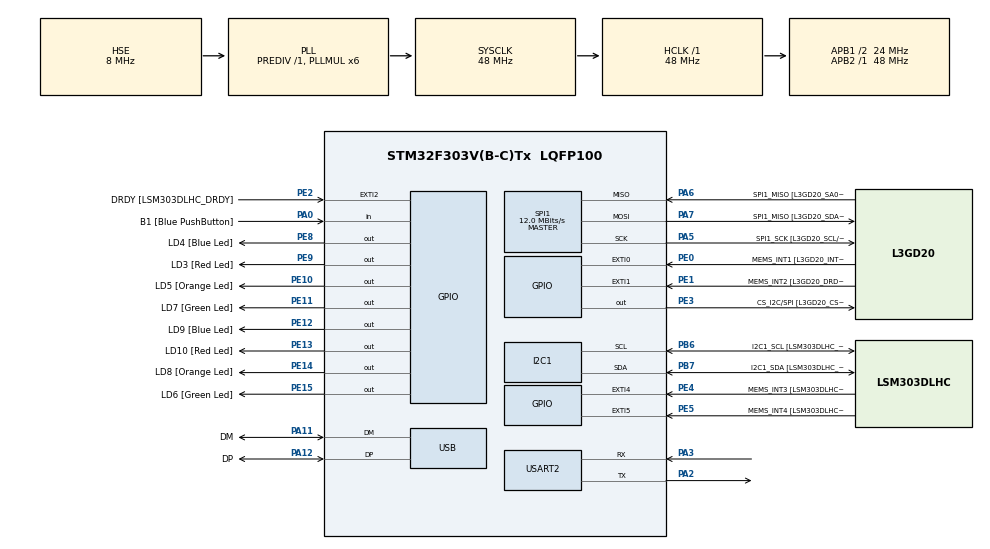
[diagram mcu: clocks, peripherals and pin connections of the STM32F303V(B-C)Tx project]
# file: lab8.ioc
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I2C1.Timing=0x00201D2B
I2C1.Timing-I2C=0x2000090E
Mcu.Family=STM32F3
Mcu.Name=STM32F303V(B-C)Tx
Mcu.Package=LQFP100
NVIC.PriorityGroup=NVIC_PRIORITYGROUP_0
NVIC.SPI1_IRQn=true\:0\:0\:false\:false\:true\:true\:true\:true
NVIC.USART2_IRQn=true\:0\:0\:false\:false\:true\:true\:true\:true
PA0.GPIO_Label=B1 [Blue PushButton]
PA0.Signal=GPIO_Input
PA11.GPIO_Label=DM
PA11.Mode=Device
PA11.Signal=USB_DM
PA12.GPIO_Label=DP
PA12.Mode=Device
PA12.Signal=USB_DP
PA13.GPIO_Label=SWDIO
PA13.Mode=Serial_Wire
PA13.Signal=SYS_JTMS-SWDIO
PA14.GPIO_Label=SWCLK
PA14.Mode=Serial_Wire
PA14.Signal=SYS_JTCK-SWCLK
PA2.Mode=Asynchronous
PA2.Signal=USART2_TX
PA3.Mode=Asynchronous
PA3.Signal=USART2_RX
PA5.GPIO_Label=SPI1_SCK [L3GD20_SCL/SPC]
PA5.Mode=Full_Duplex_Master
PA5.Signal=SPI1_SCK
PA6.GPIO_Label=SPI1_MISO [L3GD20_SA0/SDO]
PA6.Mode=Full_Duplex_Master
PA6.Signal=SPI1_MISO
PA7.GPIO_Label=SPI1_MISO [L3GD20_SDA/SDI/SDO]
PA7.Mode=Full_Duplex_Master
PA7.Signal=SPI1_MOSI
PB3.GPIO_Label=SWO
PB3.Signal=SYS_JTDO-TRACESWO
PB6.GPIO_Label=I2C1_SCL [LSM303DLHC_SCL]
PB6.GPIO_Pu=GPIO_PULLUP
PB6.Mode=I2C
PB6.Signal=I2C1_SCL
PB7.GPIO_Label=I2C1_SDA [LSM303DLHC_SDA]
PB7.GPIO_Pu=GPIO_PULLUP
PB7.Mode=I2C
PB7.Signal=I2C1_SDA
PC14-OSC32_IN.GPIO_Label=OSC32_IN
PC14-OSC32_IN.Signal=RCC_OSC32_IN
PC15-OSC32_OUT.GPIO_Label=OSC32_OUT
PC15-OSC32_OUT.Signal=RCC_OSC32_OUT
PE0.GPIO_Label=MEMS_INT1 [L3GD20_INT1]
PE0.GPIO_ModeDefaultEXTI=GPIO_MODE_EVT_RISING
PE0.Signal=GPXTI0
PE1.GPIO_Label=MEMS_INT2 [L3GD20_DRDY/INT2]
PE1.GPIO_ModeDefaultEXTI=GPIO_MODE_EVT_RISING
PE1.Signal=GPXTI1
PE10.GPIO_Label=LD5 [Orange Led]
PE10.Signal=GPIO_Output
PE11.GPIO_Label=LD7 [Green Led]
PE11.Signal=GPIO_Output
PE12.GPIO_Label=LD9 [Blue Led]
PE12.Signal=GPIO_Output
PE13.GPIO_Label=LD10 [Red Led]
PE13.Signal=GPIO_Output
PE14.GPIO_Label=LD8 [Orange Led]
PE14.Signal=GPIO_Output
PE15.GPIO_Label=LD6 [Green Led]
PE15.Signal=GPIO_Output
PE2.GPIO_Label=DRDY [LSM303DLHC_DRDY]
PE2.GPIO_ModeDefaultEXTI=GPIO_MODE_EVT_RISING
PE2.Signal=GPXTI2
PE3.GPIO_Label=CS_I2C/SPI [L3GD20_CS_I2C/SPI]
PE3.Signal=GPIO_Output
PE4.GPIO_Label=MEMS_INT3 [LSM303DLHC_INT1]
PE4.GPIO_ModeDefaultEXTI=GPIO_MODE_EVT_RISING
PE4.Signal=GPXTI4
PE5.GPIO_Label=MEMS_INT4 [LSM303DLHC_INT2]
PE5.GPIO_ModeDefaultEXTI=GPIO_MODE_EVT_RISING
PE5.Signal=GPXTI5
PE8.GPIO_Label=LD4 [Blue Led]
PE8.Signal=GPIO_Output
PE9.GPIO_Label=LD3 [Red Led]
PE9.Signal=GPIO_Output
PF0-OSC_IN.GPIO_Label=OSC_IN
PF0-OSC_IN.Mode=HSE-External-Clock-Source
PF0-OSC_IN.Signal=RCC_OSC_IN
PF1-OSC_OUT.GPIO_Label=OSC_OUT
PF1-OSC_OUT.Signal=RCC_OSC_OUT
ProjectManager.HeapSize=0x200
ProjectManager.StackSize=0x400
ProjectManager.TargetToolchain=CMake
RCC.AHBFreq_Value=48000000
RCC.APB1CLKDivider=RCC_HCLK_DIV2
RCC.APB1Freq_Value=24000000
RCC.APB1TimFreq_Value=48000000
RCC.APB2Freq_Value=48000000
RCC.APB2TimFreq_Value=48000000
RCC.CortexFreq_Value=48000000
RCC.HCLKFreq_Value=48000000
RCC.HSE_VALUE=8000000
RCC.HSI_VALUE=8000000
RCC.LSE_VALUE=32768
RCC.PLLMUL=RCC_PLL_MUL6
RCC.SYSCLKFreq_VALUE=48000000
RCC.SYSCLKSourceVirtual=RCC_SYSCLKSOURCE_PLLCLK
RCC.USBFreq_Value=48000000
SPI1.BaudRatePrescaler=SPI_BAUDRATEPRESCALER_4
SPI1.BaudRatePrescaler-Full_Duplex_Master=SPI_BAUDRATEPRESCALER_2
SPI1.CalculateBaudRate=12.0 MBits/s
SPI1.CalculateBaudRate-Full_Duplex_Master=24.0 MBits/s
SPI1.Direction=SPI_DIRECTION_2LINES
SPI1.Mode=SPI_MODE_MASTER
SPI1.Mode-Full_Duplex_Master=SPI_MODE_MASTER
SPI1.VirtualType=VM_MASTER
USART2.VirtualMode-Asynchronous=VM_ASYNC
board=STM32F3DISCOVERY

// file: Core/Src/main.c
/* USER CODE BEGIN Header */
/**
  ******************************************************************************
  * @file           : main.c
  * @brief          : Lab 8 - Task 1 (commented) + Task 2 (commented) + Task 3 (active)
  *
  *  TASK 1 (commented out):
  *    Reads WHO_AM_I register (0x0F) from I3G4250D gyroscope via SPI polling.
  *    Expected return: 0xD3 (blue board). Prints result over UART.
  *
  *  TASK 2 (commented out):
  *    Reads temperature register (0x26) via SPI interrupt mode.
  *    Transmits signed temperature value over UART every ~150ms.
  *
  *  TASK 3 (active):
  *    Reads temperature + angular velocity (X, Y, Z) via SPI polling.
  *    Converts raw values to dps using sensitivity = 8.75 mdps/LSB.
  *    Output format: "<temp>, <x_dps>, <y_dps>, <z_dps>\n"
  *    Works with Lab8Task3_plot.py Python script.
  ******************************************************************************
  */
/* USER CODE END Header */

#include "main.h"

/* USER CODE BEGIN Includes */
#include <stdio.h>
#include <string.h>
/* USER CODE END Includes */

/* USER CODE BEGIN PD */

/* ── Gyroscope Register Addresses ─────────────────────────────────────── */
#define GYRO_WHO_AM_I_ADDR   0x0F   /* Task 1: WHO_AM_I register          */
#define I3G4250D_WHO_AM_I    0xD3   /* Task 1: Expected ID - blue board   */
#define L3GD20_WHO_AM_I      0xD4   /* Task 1: Expected ID - green board  */

#define CTRL_REG1            0x20
#define CTRL_REG1_VAL        0x8F   /* PD=1, ODR=400Hz, Zen=Yen=Xen=1    */

#define CTRL_REG4            0x23
#define CTRL_REG4_VAL        0x00   /* FS = ±245 dps (default)            */

#define OUT_TEMP             0x26   /* Temperature output register        */
#define OUT_X_L              0x28   /* X-axis low byte (auto-inc from here)*/

/* ── SPI Command Bits ──────────────────────────────────────────────────── */
#define SPI_READ             0x80   /* Bit7=1 => read                     */
#define SPI_AUTO_INC         0x40   /* Bit6=1 => auto-increment address   */

/* ── Chip Select Pin ───────────────────────────────────────────────────── */
#define GYRO_CS_PIN          GPIO_PIN_3
#define GYRO_CS_PORT         GPIOE

/* USER CODE END PD */

/* USER CODE BEGIN PM */
#define GYRO_CS_LOW()   HAL_GPIO_WritePin(GYRO_CS_PORT, GYRO_CS_PIN, GPIO_PIN_RESET)
#define GYRO_CS_HIGH()  HAL_GPIO_WritePin(GYRO_CS_PORT, GYRO_CS_PIN, GPIO_PIN_SET)
/* USER CODE END PM */

I2C_HandleTypeDef  hi2c1;
SPI_HandleTypeDef  hspi1;
UART_HandleTypeDef huart2;
PCD_HandleTypeDef  hpcd_USB_FS;

/* USER CODE BEGIN PV */

/* ── Task 2: SPI state machine (commented out) ─────────────────────────── */
// typedef enum {
//     SPI_STATE_IDLE = 0,
//     SPI_STATE_TX_DONE,
//     SPI_STATE_RX_DONE
// } SPI_State_t;
// volatile SPI_State_t spiState = SPI_STATE_IDLE;
// uint8_t t2_tx_buf[1];
// uint8_t t2_rx_buf[1];
// volatile int8_t t2_temperature = 0;

/* ── Task 3: buffers ────────────────────────────────────────────────────── */
static uint8_t rx_buf[6];
static int8_t  temp_raw;
static int16_t x_raw, y_raw, z_raw;
static char    uart_buf[64];

/* USER CODE END PV */

void SystemClock_Config(void);
static void MX_GPIO_Init(void);
static void MX_I2C1_Init(void);
static void MX_SPI1_Init(void);
static void MX_USART2_UART_Init(void);
static void MX_USB_PCD_Init(void);

/* USER CODE BEGIN PFP */

// ── Task 1 prototype (commented out) ──────────────────────────────────────
// static uint8_t Gyro_ReadRegister(uint8_t reg_addr);

// ── Task 2 prototypes (commented out) ─────────────────────────────────────
// void gyro_read_temp_start(void);
// void HAL_SPI_TxCpltCallback(SPI_HandleTypeDef *hspi);
// void HAL_SPI_RxCpltCallback(SPI_HandleTypeDef *hspi);

// ── Task 3 prototypes ──────────────────────────────────────────────────────
static void    gyro_write_reg(uint8_t reg, uint8_t val);
static uint8_t gyro_read_reg(uint8_t reg);
static void    gyro_init(void);
static void    gyro_read_all(void);
static int     write_dps(char *buf, int32_t raw);

/* USER CODE END PFP */

/* USER CODE BEGIN 0 */

/* ════════════════════════════════════════════════════════════════════════
 * TASK 1 - WHO_AM_I Read via SPI Polling (COMMENTED OUT)
 * ════════════════════════════════════════════════════════════════════════
 * Usage in USER CODE BEGIN 2:
 *   uint8_t id = Gyro_ReadRegister(GYRO_WHO_AM_I_ADDR);
 *   sprintf(uart_buf, "WHO_AM_I = 0x%02X\r\n", id);
 *   HAL_UART_Transmit(&huart2, (uint8_t*)uart_buf, strlen(uart_buf), 100);
 * ════════════════════════════════════════════════════════════════════════ */
// static uint8_t Gyro_ReadRegister(uint8_t reg_addr)
// {
//     uint8_t cmd     = SPI_READ | (reg_addr & 0x3F);
//     uint8_t rx_data = 0x00;
//     GYRO_CS_LOW();
//     HAL_SPI_Transmit(&hspi1, &cmd, 1, 100);
//     HAL_SPI_Receive(&hspi1, &rx_data, 1, 100);
//     GYRO_CS_HIGH();
//     return rx_data;
// }

/* ════════════════════════════════════════════════════════════════════════
 * TASK 2 - Temperature via SPI Interrupt Mode (COMMENTED OUT)
 * ════════════════════════════════════════════════════════════════════════ */
// void gyro_read_temp_start(void)
// {
//     t2_tx_buf[0] = SPI_READ | OUT_TEMP;
//     spiState     = SPI_STATE_IDLE;
//     GYRO_CS_LOW();
//     HAL_SPI_Transmit_IT(&hspi1, t2_tx_buf, 1);
// }
//
// void HAL_SPI_TxCpltCallback(SPI_HandleTypeDef *hspi)
// {
//     if (hspi->Instance == SPI1)
//     {
//         spiState = SPI_STATE_TX_DONE;
//         HAL_SPI_Receive_IT(&hspi1, t2_rx_buf, 1);
//     }
// }
//
// void HAL_SPI_RxCpltCallback(SPI_HandleTypeDef *hspi)
// {
//     if (hspi->Instance == SPI1)
//     {
//         GYRO_CS_HIGH();
//         t2_temperature = (int8_t)t2_rx_buf[0];
//         spiState       = SPI_STATE_RX_DONE;
//     }
// }

/* ════════════════════════════════════════════════════════════════════════
 * TASK 3 - Angular Velocity + Temperature via SPI Polling (ACTIVE)
 * ════════════════════════════════════════════════════════════════════════ */

static void gyro_write_reg(uint8_t reg, uint8_t val)
{
    uint8_t tx[2] = { reg & 0x3F, val };
    GYRO_CS_LOW();
    HAL_SPI_Transmit(&hspi1, tx, 2, HAL_MAX_DELAY);
    GYRO_CS_HIGH();
}

static uint8_t gyro_read_reg(uint8_t reg)
{
    uint8_t cmd  = SPI_READ | (reg & 0x3F);
    uint8_t data = 0;
    GYRO_CS_LOW();
    HAL_SPI_Transmit(&hspi1, &cmd,  1, HAL_MAX_DELAY);
    HAL_SPI_Receive (&hspi1, &data, 1, HAL_MAX_DELAY);
    GYRO_CS_HIGH();
    return data;
}

static void gyro_init(void)
{
    gyro_write_reg(CTRL_REG1, CTRL_REG1_VAL);  /* Power on, enable axes  */
    gyro_write_reg(CTRL_REG4, CTRL_REG4_VAL);  /* ±245 dps full scale    */
}

static void gyro_read_all(void)
{
    /* Read temperature */
    temp_raw = (int8_t)gyro_read_reg(OUT_TEMP);

    /* Burst read 6 bytes: OUT_X_L through OUT_Z_H using auto-increment */
    uint8_t cmd = SPI_READ | SPI_AUTO_INC | OUT_X_L;  /* 0xE8 */
    GYRO_CS_LOW();
    HAL_SPI_Transmit(&hspi1, &cmd,   1, HAL_MAX_DELAY);
    HAL_SPI_Receive (&hspi1, rx_buf, 6, HAL_MAX_DELAY);
    GYRO_CS_HIGH();

    /* Merge low and high bytes (little-endian) */
    x_raw = (int16_t)((rx_buf[1] << 8) | rx_buf[0]);
    y_raw = (int16_t)((rx_buf[3] << 8) | rx_buf[2]);
    z_raw = (int16_t)((rx_buf[5] << 8) | rx_buf[4]);
}

/**
 * @brief Convert raw gyro value to dps string without floats.
 *        Sensitivity = 8.75 mdps/LSB
 *        raw * 875 / 100 = value in units of 0.01 dps
 *        e.g. raw=141 -> 141*875/100=1233 -> "12.33" dps
 */
static int write_dps(char *buf, int32_t raw)
{
    int32_t scaled   = (raw * 875L) / 100L;  /* units of 0.01 dps */
    int     negative = (scaled < 0);
    if (negative) scaled = -scaled;

    int32_t whole = scaled / 100;
    int32_t frac  = scaled % 100;

    if (negative)
        return sprintf(buf, "-%ld.%02ld", (long)whole, (long)frac);
    else
        return sprintf(buf,  "%ld.%02ld", (long)whole, (long)frac);
}

/* USER CODE END 0 */

int main(void)
{

    HAL_Init();
    SystemClock_Config();

    MX_GPIO_Init();
    MX_I2C1_Init();
    MX_SPI1_Init();
    MX_USART2_UART_Init();
    MX_USB_PCD_Init();

    /* USER CODE BEGIN 2 */

    // ── Task 1 (commented out) ─────────────────────────────────────────
    // uint8_t who_am_i = Gyro_ReadRegister(GYRO_WHO_AM_I_ADDR);
    // if (who_am_i == I3G4250D_WHO_AM_I)
    //     sprintf(uart_buf, "WHO_AM_I = 0x%02X --> I3G4250D (PASS)\r\n", who_am_i);
    // else if (who_am_i == L3GD20_WHO_AM_I)
    //     sprintf(uart_buf, "WHO_AM_I = 0x%02X --> L3GD20 (PASS)\r\n", who_am_i);
    // else
    //     sprintf(uart_buf, "WHO_AM_I = 0x%02X --> UNKNOWN\r\n", who_am_i);
    // HAL_UART_Transmit(&huart2, (uint8_t*)uart_buf, strlen(uart_buf), 100);

    // ── Task 2 (commented out) ─────────────────────────────────────────
    // GYRO_CS_HIGH();
    // HAL_Delay(10);
    // gyro_init_t2();   /* Task 2 used its own init writing only CTRL_REG1=0x0F */
    // HAL_Delay(100);
    // -- while loop was: gyro_read_temp_start(); wait spiState; transmit; delay

    // ── Task 3 init ────────────────────────────────────────────────────
    GYRO_CS_HIGH();
    HAL_Delay(10);
    gyro_init();
    HAL_Delay(100);

    /* USER CODE END 2 */

    while (1)
    {
        /* USER CODE BEGIN 3 */

        gyro_read_all();

        char xs[12], ys[12], zs[12];
        write_dps(xs, x_raw);
        write_dps(ys, y_raw);
        write_dps(zs, z_raw);

        int len = sprintf(uart_buf, "%d, %s, %s, %s\n",
                          (int)temp_raw, xs, ys, zs);

        HAL_UART_Transmit(&huart2, (uint8_t *)uart_buf, (uint16_t)len, HAL_MAX_DELAY);

        HAL_Delay(100);
    }
    /* USER CODE END 3 */
}

void SystemClock_Config(void)
{
    RCC_OscInitTypeDef       RCC_OscInitStruct = {0};
    RCC_ClkInitTypeDef       RCC_ClkInitStruct = {0};
    RCC_PeriphCLKInitTypeDef PeriphClkInit     = {0};

    RCC_OscInitStruct.OscillatorType      = RCC_OSCILLATORTYPE_HSI | RCC_OSCILLATORTYPE_HSE;
    RCC_OscInitStruct.HSEState            = RCC_HSE_BYPASS;
    RCC_OscInitStruct.HSEPredivValue      = RCC_HSE_PREDIV_DIV1;
    RCC_OscInitStruct.HSIState            = RCC_HSI_ON;
    RCC_OscInitStruct.HSICalibrationValue = RCC_HSICALIBRATION_DEFAULT;
    RCC_OscInitStruct.PLL.PLLState        = RCC_PLL_ON;
    RCC_OscInitStruct.PLL.PLLSource       = RCC_PLLSOURCE_HSE;
    RCC_OscInitStruct.PLL.PLLMUL          = RCC_PLL_MUL6;
    if (HAL_RCC_OscConfig(&RCC_OscInitStruct) != HAL_OK) Error_Handler();

    RCC_ClkInitStruct.ClockType      = RCC_CLOCKTYPE_HCLK | RCC_CLOCKTYPE_SYSCLK
                                     | RCC_CLOCKTYPE_PCLK1 | RCC_CLOCKTYPE_PCLK2;
    RCC_ClkInitStruct.SYSCLKSource   = RCC_SYSCLKSOURCE_PLLCLK;
    RCC_ClkInitStruct.AHBCLKDivider  = RCC_SYSCLK_DIV1;
    RCC_ClkInitStruct.APB1CLKDivider = RCC_HCLK_DIV2;
    RCC_ClkInitStruct.APB2CLKDivider = RCC_HCLK_DIV1;
    if (HAL_RCC_ClockConfig(&RCC_ClkInitStruct, FLASH_LATENCY_1) != HAL_OK) Error_Handler();

    PeriphClkInit.PeriphClockSelection = RCC_PERIPHCLK_USB | RCC_PERIPHCLK_USART2
                                       | RCC_PERIPHCLK_I2C1;
    PeriphClkInit.Usart2ClockSelection = RCC_USART2CLKSOURCE_PCLK1;
    PeriphClkInit.I2c1ClockSelection   = RCC_I2C1CLKSOURCE_HSI;
    PeriphClkInit.USBClockSelection    = RCC_USBCLKSOURCE_PLL;
    if (HAL_RCCEx_PeriphCLKConfig(&PeriphClkInit) != HAL_OK) Error_Handler();
}

static void MX_I2C1_Init(void)
{
    hi2c1.Instance              = I2C1;
    hi2c1.Init.Timing           = 0x00201D2B;
    hi2c1.Init.OwnAddress1      = 0;
    hi2c1.Init.AddressingMode   = I2C_ADDRESSINGMODE_7BIT;
    hi2c1.Init.DualAddressMode  = I2C_DUALADDRESS_DISABLE;
    hi2c1.Init.OwnAddress2      = 0;
    hi2c1.Init.OwnAddress2Masks = I2C_OA2_NOMASK;
    hi2c1.Init.GeneralCallMode  = I2C_GENERALCALL_DISABLE;
    hi2c1.Init.NoStretchMode    = I2C_NOSTRETCH_DISABLE;
    if (HAL_I2C_Init(&hi2c1) != HAL_OK) Error_Handler();
    if (HAL_I2CEx_ConfigAnalogFilter(&hi2c1, I2C_ANALOGFILTER_ENABLE) != HAL_OK) Error_Handler();
    if (HAL_I2CEx_ConfigDigitalFilter(&hi2c1, 0) != HAL_OK) Error_Handler();
}

static void MX_SPI1_Init(void)
{
    hspi1.Instance               = SPI1;
    hspi1.Init.Mode              = SPI_MODE_MASTER;
    hspi1.Init.Direction         = SPI_DIRECTION_2LINES;
    hspi1.Init.DataSize          = SPI_DATASIZE_8BIT;
    hspi1.Init.CLKPolarity       = SPI_POLARITY_HIGH;    /* CPOL=1 */
    hspi1.Init.CLKPhase          = SPI_PHASE_2EDGE;      /* CPHA=1 */
    hspi1.Init.NSS               = SPI_NSS_SOFT;
    hspi1.Init.BaudRatePrescaler = SPI_BAUDRATEPRESCALER_8;
    hspi1.Init.FirstBit          = SPI_FIRSTBIT_MSB;
    hspi1.Init.TIMode            = SPI_TIMODE_DISABLE;
    hspi1.Init.CRCCalculation    = SPI_CRCCALCULATION_DISABLE;
    hspi1.Init.CRCPolynomial     = 7;
    hspi1.Init.CRCLength         = SPI_CRC_LENGTH_DATASIZE;
    hspi1.Init.NSSPMode          = SPI_NSS_PULSE_DISABLE;
    if (HAL_SPI_Init(&hspi1) != HAL_OK) Error_Handler();
}

static void MX_USART2_UART_Init(void)
{
    huart2.Instance                    = USART2;
    huart2.Init.BaudRate               = 115200;
    huart2.Init.WordLength             = UART_WORDLENGTH_8B;
    huart2.Init.StopBits               = UART_STOPBITS_1;
    huart2.Init.Parity                 = UART_PARITY_NONE;
    huart2.Init.Mode                   = UART_MODE_TX_RX;
    huart2.Init.HwFlowCtl              = UART_HWCONTROL_NONE;
    huart2.Init.OverSampling           = UART_OVERSAMPLING_16;
    huart2.Init.OneBitSampling         = UART_ONE_BIT_SAMPLE_DISABLE;
    huart2.AdvancedInit.AdvFeatureInit = UART_ADVFEATURE_NO_INIT;
    if (HAL_UART_Init(&huart2) != HAL_OK) Error_Handler();
}

static void MX_USB_PCD_Init(void)
{
    hpcd_USB_FS.Instance                     = USB;
    hpcd_USB_FS.Init.dev_endpoints           = 8;
    hpcd_USB_FS.Init.speed                   = PCD_SPEED_FULL;
    hpcd_USB_FS.Init.phy_itface              = PCD_PHY_EMBEDDED;
    hpcd_USB_FS.Init.low_power_enable        = DISABLE;
    hpcd_USB_FS.Init.battery_charging_enable = DISABLE;
    if (HAL_PCD_Init(&hpcd_USB_FS) != HAL_OK) Error_Handler();
}

static void MX_GPIO_Init(void)
{
    GPIO_InitTypeDef GPIO_InitStruct = {0};

    __HAL_RCC_GPIOE_CLK_ENABLE();
    __HAL_RCC_GPIOC_CLK_ENABLE();
    __HAL_RCC_GPIOF_CLK_ENABLE();
    __HAL_RCC_GPIOA_CLK_ENABLE();
    __HAL_RCC_GPIOB_CLK_ENABLE();

    HAL_GPIO_WritePin(GPIOE, CS_I2C_SPI_Pin | LD4_Pin | LD3_Pin | LD5_Pin
                           | LD7_Pin | LD9_Pin | LD10_Pin | LD8_Pin
                           | LD6_Pin, GPIO_PIN_RESET);

    /* CS starts HIGH - gyroscope deselected */
    HAL_GPIO_WritePin(GYRO_CS_PORT, GYRO_CS_PIN, GPIO_PIN_SET);

    GPIO_InitStruct.Pin  = DRDY_Pin | MEMS_INT3_Pin | MEMS_INT4_Pin
                         | MEMS_INT1_Pin | MEMS_INT2_Pin;
    GPIO_InitStruct.Mode = GPIO_MODE_EVT_RISING;
    GPIO_InitStruct.Pull = GPIO_NOPULL;
    HAL_GPIO_Init(GPIOE, &GPIO_InitStruct);

    GPIO_InitStruct.Pin   = CS_I2C_SPI_Pin | LD4_Pin | LD3_Pin | LD5_Pin
                          | LD7_Pin | LD9_Pin | LD10_Pin | LD8_Pin | LD6_Pin;
    GPIO_InitStruct.Mode  = GPIO_MODE_OUTPUT_PP;
    GPIO_InitStruct.Pull  = GPIO_NOPULL;
    GPIO_InitStruct.Speed = GPIO_SPEED_FREQ_LOW;
    HAL_GPIO_Init(GPIOE, &GPIO_InitStruct);

    GPIO_InitStruct.Pin  = B1_Pin;
    GPIO_InitStruct.Mode = GPIO_MODE_INPUT;
    GPIO_InitStruct.Pull = GPIO_NOPULL;
    HAL_GPIO_Init(B1_GPIO_Port, &GPIO_InitStruct);
}

void Error_Handler(void)
{
    __disable_irq();
    while (1) {}
}
